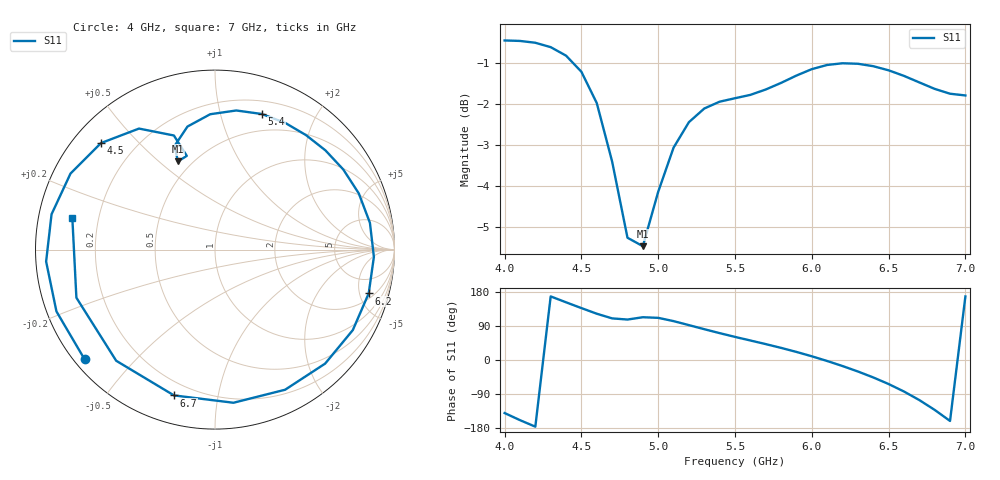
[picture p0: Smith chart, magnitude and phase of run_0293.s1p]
! Touchstone file exported from HFSS 2024.2.0
!  File:  C:/Users/wsak9/Desktop/Sim Fast/Widenad Patch/WP_AI_V1_sweep.aedt
!  Generated:  03:20:26 AM Oct 14, 2026
!  Design:  A1_model
!  Project:  WP_AI_V1_sweep
!  Setup:  Setup1
!  Solution:  Sweep
! Variables:
!  Air_gap = 3.76mm
!  Curve_Amp1 = 1.71
!  Curve_len1 = 1
!  Curve_pos = 11.64mm
!  Extra = 6.77mm
!  H_sub = 0.79mm
!  L_Patch = 19.28mm
!  L_Patch1 = 15.25mm
!  Sx = 3.7mm
!  Sy = 1.53mm
!  WS = 0.51mm
!  W_Patch = 16.56mm
!  W_Patch1 = 8.48mm
!Data is not renormalized
# GHz S MA
! Terminal data exported
! Port[1] = 1
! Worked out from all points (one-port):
!   31 points, 4 GHz to 7 GHz, reference per port
!   lowest |S11| = -5.5 dB at 4.9 GHz (marker M1), VSWR 3.28
!   |S11| at or under -10 dB: nowhere
!   S11 on the Smith chart (normalised r, x): 4 GHz: 0.03, -0.36; 4.5 GHz: 0.08, +0.39; 5.4 GHz: 0.32, +1.35; 6.2 GHz: 2.58, -6.08; 6.7 GHz: 0.13, -0.75; 7 GHz: 0.10, +0.11
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4  0.9494 -140.0
4.1  0.9481 -158.7
4.2  0.9432 -176.0
4.3  0.9317 167.8
4.4  0.9097 152.2
4.5  0.8694 137.0
4.6  0.7963 122.1
4.7  0.6757 109.8
4.8  0.5455 106.8
4.9  0.5327 112.8
5  0.6206 111.2
5.1  0.7025 102.6
5.2  0.7547 92.0
5.3  0.7842 81.3
5.4  0.7994 70.9
5.5  0.8071 61.0
5.7  0.8272 41.9
5.9  0.8602 21.3
6.1  0.8862 -2.6
6.2  0.8905 -15.9
6.3  0.8892 -30.3
6.4  0.8832 -46.0
6.5  0.873 -63.4
6.6  0.8595 -83.1
6.7  0.8438 -105.7
6.8  0.8286 -131.6
6.9  0.8175 -160.9
7  0.8135 167.7
